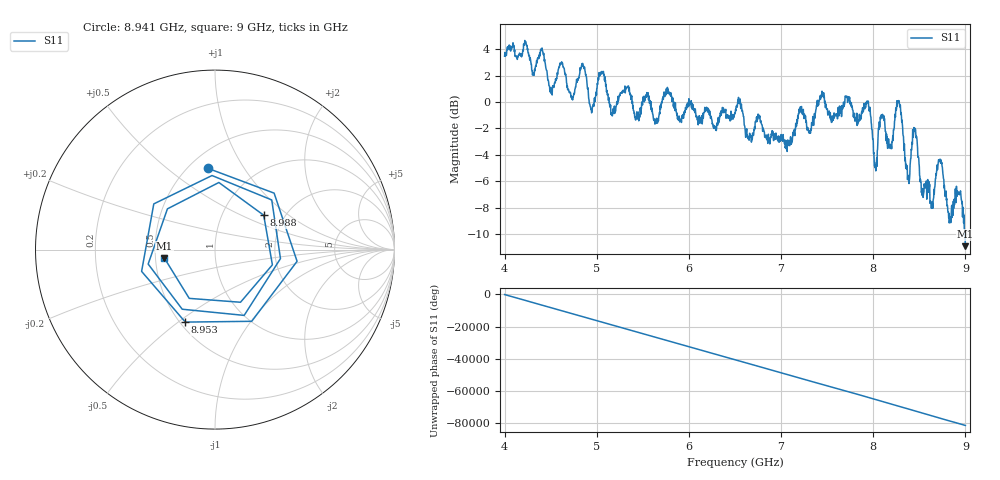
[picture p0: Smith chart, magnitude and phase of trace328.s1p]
! Created with skrf 1.8.0 (http://scikit-rf.org).
# Hz S RI R 50.0
!freq ReS11 ImS11
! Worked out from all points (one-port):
!   1601 points, 4 GHz to 9 GHz, reference 50 ohm
!   lowest |S11| = -10.9 dB at 9 GHz (marker M1), VSWR 1.80, Z = 27.9 - j2.93 ohm
!   |S11| at or under -10 dB: 8.995547 GHz to end of sweep
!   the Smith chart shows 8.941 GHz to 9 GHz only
!   S11 on the Smith chart (normalised r, x): 8.941 GHz: 0.61, +0.70; 8.953 GHz: 0.53, -0.53; 8.988 GHz: 1.57, +0.67; 9 GHz: 0.56, -0.06
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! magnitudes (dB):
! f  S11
! 4 GHz  3.5
! 4.403 GHz  3.9
! 4.509 GHz  1.0
! 4.625 GHz  2.9
! 4.731 GHz  0.2
! 4.856 GHz  2.7
! 4.944 GHz  -0.8
! 5.05 GHz  2.3
! 5.25 GHz  0.5
! 5.875 GHz  -1.3
! 6.5 GHz  -0.9
! 7.125 GHz  -2.6
! 7.75 GHz  0.1
! 7.947 GHz  0.1
! 8.025 GHz  -4.9
! 8.081 GHz  -1.3
! 8.181 GHz  -3.5
! 8.278 GHz  -0.1
! 8.375 GHz  -5.5
! 8.453 GHz  -2.2
! 8.534 GHz  -6.8
! 8.641 GHz  -7.8
! 8.725 GHz  -4.3
! 8.822 GHz  -8.4
! 8.941 GHz  -6.8
! 8.953 GHz  -7.2
! 8.988 GHz  -9.6
! 9 GHz  -10.9
